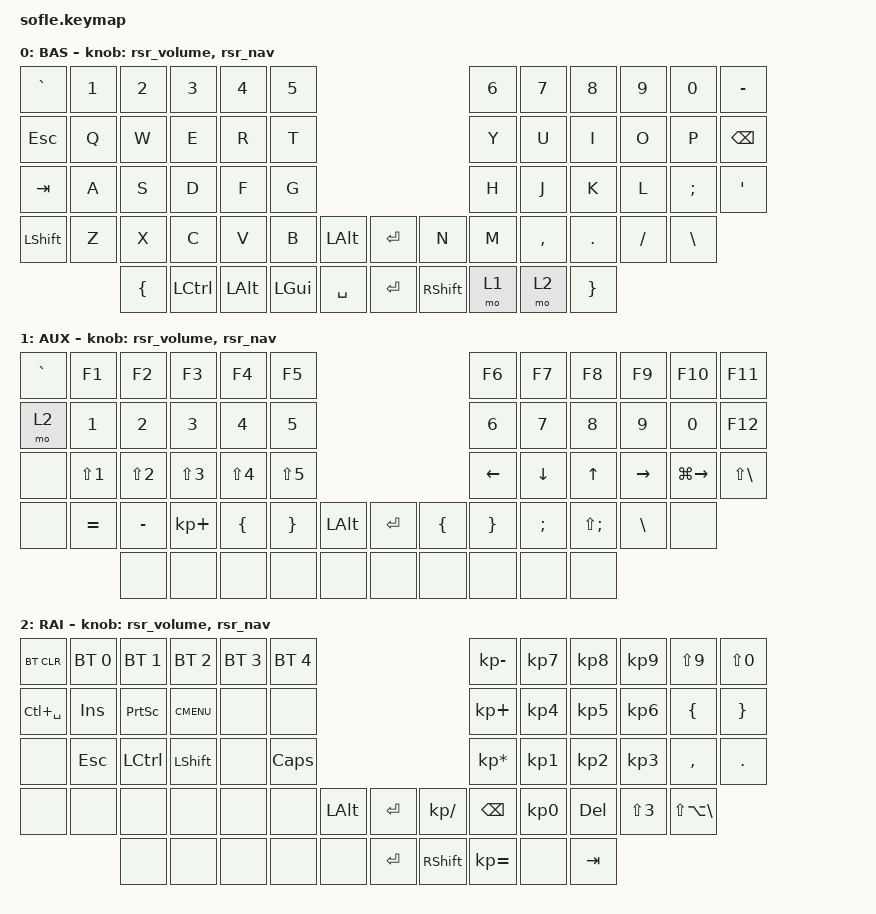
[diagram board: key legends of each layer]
/*
 * Copyright (c) 2020 The ZMK Contributors
 *
 * SPDX-License-Identifier: MIT
 *
 * Sofle v1 MX — clean-slate keymap (branch feat/sofle-clean).
 * Standard upstream layers BAS/AUX/RAI, 60 positions (58 + two pushes).
 * BT channels: 0/1/2 = Macs (BLE), 3 = USB bridge dongle, 4 spare.
 * Left encoder PCB is inverted: the (CW, CCW) params are swapped on purpose
 * so a physical CW turn yields volume UP. Right encoder is not inverted.
 * Encoder pushes: left = LALT, right = RET (all layers).
 * DYA runtime behaviors are registered and Studio-editable; defaults below
 * are plain runtime-sensor-rotate nodes (no browser-zoom overlay, no
 * display-sync, no custom OLED code — stock ZMK status screen only).
 */

#include <behaviors.dtsi>
#include <dt-bindings/zmk/bt.h>
#include <dt-bindings/zmk/ext_power.h>
#include <dt-bindings/zmk/keys.h>
#include <dt-bindings/zmk/mouse.h>
/* Register the assignable DYA runtime behavior without changing any key. */
#include <behaviors/runtime_macro.dtsi>
#include "sofle-encoders.dtsi"

/ {
    keymap {
        compatible = "zmk,keymap";

        default_layer {
            display-name = "BAS";
            // ------------------------------------------------------------------------------------------------------------
            // |  `    |  1  |  2  |  3   |  4   |  5   |                   |  6   |  7    |  8    |  9   |   0   |   -   |
            // |  ESC  |  Q  |  W  |  E   |  R   |  T   |                   |  Y   |  U    |  I    |  O   |   P   | BKSPC |
            // |  TAB  |  A  |  S  |  D   |  F   |  G   |                   |  H   |  J    |  K    |  L   |   ;   |   '   |
            // | SHIFT |  Z  |  X  |  C   |  V   |  B   | L-ENCPUSH  |  | R-ENCPUSH  |  N  |  M    |  ,    |  .   |   /   |   \   |
            //               |  [  | CTRL | ALT  | CMD  | SPACE  |  | ENTER | SHIFT |  AUX  |  RAI  |   ]   |

            bindings = <
&kp GRAVE  &kp N1  &kp N2    &kp N3    &kp N4     &kp N5                                   &kp N6  &kp N7     &kp N8     &kp N9    &kp N0    &kp MINUS
&kp ESC    &kp Q   &kp W     &kp E     &kp R      &kp T                                    &kp Y   &kp U      &kp I      &kp O     &kp P     &kp BSPC
&kp TAB    &kp A   &kp S     &kp D     &kp F      &kp G                                    &kp H   &kp J      &kp K      &kp L     &kp SEMI  &kp SQT
&kp LSHFT  &kp Z   &kp X     &kp C     &kp V      &kp B   &kp LALT      &kp RET     &kp N   &kp M      &kp COMMA  &kp DOT   &kp FSLH  &kp BSLH
                   &kp LBRC  &kp LCTRL  &kp LALT  &kp LGUI  &kp SPACE    &kp RET  &kp RSHFT    &mo 1    &mo 2      &kp RBRC
            >;

            /* Left PCB inverted: first (CW) param is VOLUME_DOWN so physical
             * CW yields volume UP. Right encoder: CW = DOWN arrow. */
            sensor-bindings = <&rsr_volume &rsr_nav>;
        };

        lower_layer {
            display-name = "AUX";
            // ------------------------------------------------------------------------------------------------------------
            // |  `    |  F1 |  F2 |  F3  |  F4  |  F5  |                   |  F6  |  F7   |  F8   |  F9  |  F10  |  F11  |
            // | MO 2  |  1  |  2  |  3   |  4   |  5   |                   |  6   |  7    |  8    |  9   |   0   |  F12  |
            // |       |  !  |  @  |  #   |  $   |  %   |                   | <-  |  v    |  ^    |  ->  | ⌘->   |   |   |
            // |       |  =  |  -  | KP+  |  {   |  }   | L-ENCPUSH  |  | R-ENCPUSH |  [   |  ]    |  ;    |  :   |   \   |       |
            //               |     |      |      |      |        |  |       |      |       |       |      |

            bindings = <
&kp GRAVE  &kp F1     &kp F2     &kp F3       &kp F4    &kp F5                       &kp F6     &kp F7    &kp F8           &kp F9     &kp F10   &kp F11
&mo 2      &kp N1     &kp N2     &kp N3       &kp N4    &kp N5                       &kp N6     &kp N7    &kp N8           &kp N9     &kp N0    &kp F12
&none      &kp LS(N1) &kp LS(N2) &kp LS(N3)   &kp LS(N4) &kp LS(N5)                  &kp LEFT   &kp DOWN  &kp UP           &kp RIGHT  &kp LG(RIGHT) &kp LS(BSLH)
&none      &kp EQUAL  &kp MINUS  &kp KP_PLUS  &kp LBRC  &kp RBRC   &kp LALT     &kp RET &kp LBRC &kp RBRC &kp SEMI &kp LS(SEMI) &kp BSLH &none
                      &none      &none        &none     &none      &none    &none  &none      &none     &none    &none
            >;

            sensor-bindings = <&rsr_volume &rsr_nav>;
        };

        raise_layer {
            display-name = "RAI";
            // BT channels: 0/1/2 = Macs, 3 = USB dongle bridge, 4 spare.
            // ------------------------------------------------------------------------------------------------------------
            // |BTCLR| BT0  | BT1  |  BT2  |  BT3  | BT4  |                | KP-  |  KP7  |  KP8  | KP9  | 9(    | 0)    |
            // |⌃␣   | INS  | PSCR | App   |       |      |                | KP+  |  KP4  |  KP5  | KP6  |  [{   | ]}    |
            // |     | ESC  | CTRL | SHIFT |       | CAPS |                | KP*  |  KP1  |  KP2  | KP3  |  ,<   | .>    |
            // |     |      |      |       |       |      | L-ENCPUSH |  | R-ENCPUSH | KP/  | Bksp  |  KP0  | Del  |  #    | ⌥\|   |
            //               |      |       |       |      |      |  |ENTER | ⇧    | KP=   |       | Tab  |

            bindings = <
&bt BT_CLR  &bt BT_SEL 0  &bt BT_SEL 1  &bt BT_SEL 2   &bt BT_SEL 3  &bt BT_SEL 4                  &kp KP_MINUS  &kp KP_N7  &kp KP_N8   &kp KP_N9  &kp LS(N9) &kp LS(N0)
&kp LC(SPACE) &kp INS     &kp PSCRN     &kp K_CMENU    &none         &none                         &kp KP_PLUS   &kp KP_N4  &kp KP_N5   &kp KP_N6  &kp LBRC   &kp RBRC
&none       &kp ESC       &kp LCTRL     &kp LSHFT      &none         &kp CLCK                      &kp KP_ASTERISK &kp KP_N1 &kp KP_N2  &kp KP_N3  &kp COMMA  &kp DOT
&none       &none         &none         &none          &none         &none         &kp LALT    &kp RET &kp KP_DIVIDE &kp BSPC   &kp KP_N0   &kp DEL    &kp LS(N3) &kp LS(LA(BSLH))
                          &none         &none          &none         &none         &none  &kp RET  &kp RSHFT     &kp KP_EQUAL &none   &kp TAB
            >;

            sensor-bindings = <&rsr_volume &rsr_nav>;
        };
    };
};
